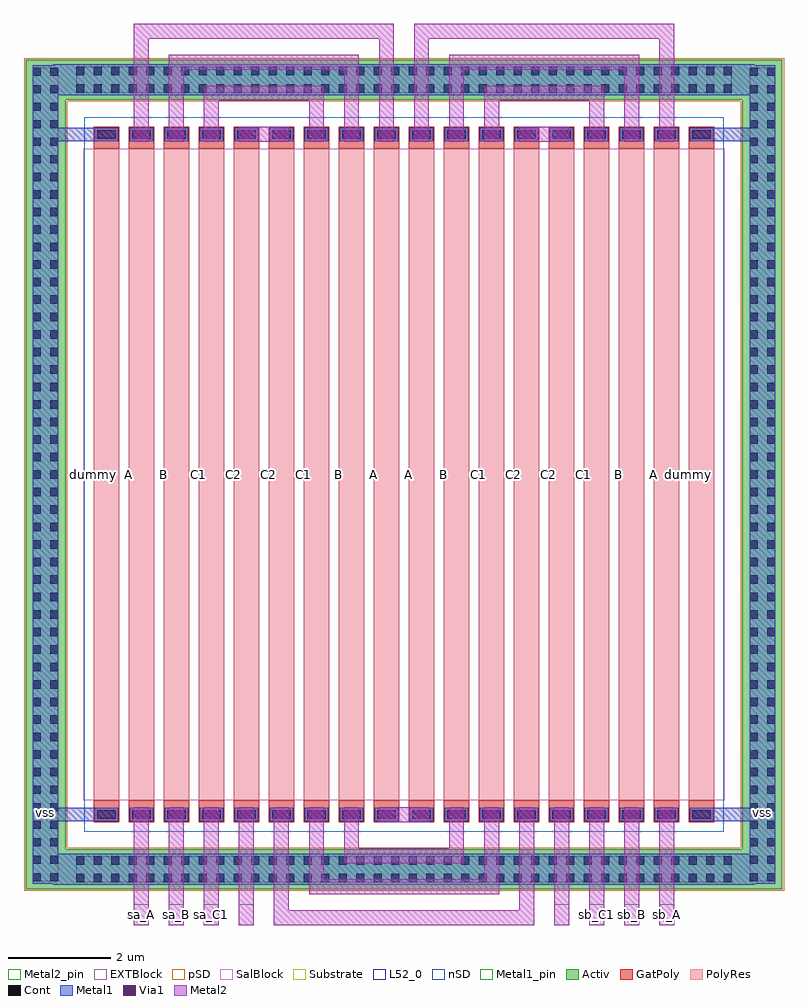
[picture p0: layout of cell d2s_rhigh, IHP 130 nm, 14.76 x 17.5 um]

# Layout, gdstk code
import gdstk
lib = gdstk.Library(unit=1e-6, precision=1e-09)
def R(c, l, rs):  # rectangles x0, y0, x1, y1
    for r in rs: c.add(gdstk.rectangle(r[:2], r[2:], *l))
def A(c, l, x, y, w, h, nx, ny, dx, dy):  # array of equal rectangles
    R(c, l, [(x+i*dx, y+j*dy, x+i*dx+w, y+j*dy+h) for i in range(nx) for j in range(ny)])
Activ = (1, 0)
GatPoly = (5, 0)
Cont = (6, 0)
nSD = (7, 0)
Metal1 = (8, 0)
Metal1_pin = (8, 2)
Metal2 = (10, 0)
Metal2_pin = (10, 2)
pSD = (14, 0)
Via1 = (19, 0)
SalBlock = (28, 0)
Substrate = (40, 0)
L52_0 = (52, 0)
EXTBlock = (111, 0)
PolyRes = (128, 0)

ptap1 = lib.new_cell('ptap1')
R(ptap1, Activ, [(0,0,0.78,16.11)])
A(ptap1, Cont, 0.14, 0.155, 0.16, 0.16, 1, 47, 0, 0.34)
A(ptap1, Cont, 0.48, 0.155, 0.16, 0.16, 1, 47, 0, 0.34)
R(ptap1, Metal1, [(0.14,0.105,0.64,16.005), (0.14,0.155,0.64,15.955)])
R(ptap1, Metal1_pin, [(0.14,0.155,0.64,15.955)])
R(ptap1, pSD, [(-0.03,-0.03,0.81,16.14)])
R(ptap1, Substrate, [(0,0,0.78,16.11)])
ptap1.add(gdstk.Label('sub!', (0.39,0.01), layer=63, texttype=0))
ptap1.add(gdstk.Label('sub!', (0.39,0.01), layer=40, texttype=0))

rhigh = lib.new_cell('rhigh')
R(rhigh, GatPoly, [(0,-0.43,0.5,0), (0,12.65,0.5,13.08)])
R(rhigh, Cont, [(0.07,-0.36,0.43,-0.2), (0.07,12.85,0.43,13.01)])
R(rhigh, nSD, [(-0.18,-0.61,0.68,0.18), (-0.18,0,0.68,12.65), (-0.18,0,0.68,12.65), (-0.18,12.47,0.68,13.26)])
R(rhigh, Metal1, [(0.02,-0.41,0.48,-0.15), (0.02,12.8,0.48,13.06)])
R(rhigh, Metal1_pin, [(0.02,-0.41,0.48,-0.15), (0.02,12.8,0.48,13.06)])
R(rhigh, pSD, [(-0.18,-0.61,0.68,0.18), (-0.18,0,0.68,12.65), (-0.18,0,0.68,12.65), (-0.18,12.47,0.68,13.26)])
R(rhigh, SalBlock, [(-0.2,0,0.7,12.65)])
R(rhigh, L52_0, [(0,0,0.5,12.65)])
R(rhigh, EXTBlock, [(-0.18,-0.61,0.68,0.18), (-0.2,0,0.7,12.65), (-0.18,12.47,0.68,13.26)])
R(rhigh, PolyRes, [(0,0,0.5,12.65)])
rhigh.add(gdstk.Label('rhigh r=37720.000', (0.25,6.325), layer=63, texttype=0))
rhigh.add(gdstk.Label('rhigh', (0.25,6.325), layer=52, texttype=0))

ptap1_2 = lib.new_cell('ptap1$2')
R(ptap1_2, Activ, [(0,0,13.14,0.78)])
A(ptap1_2, Cont, 0.2, 0.14, 0.16, 0.16, 38, 2, 0.34, 0.34)
R(ptap1_2, Metal1, [(0.2,0.09,12.94,0.69), (0.2,0.14,12.94,0.64)])
R(ptap1_2, Metal1_pin, [(0.2,0.14,12.94,0.64)])
R(ptap1_2, pSD, [(-0.03,-0.03,13.17,0.81)])
R(ptap1_2, Substrate, [(0,0,13.14,0.78)])
ptap1_2.add(gdstk.Label('sub!', (6.57,0.01), layer=63, texttype=0))
ptap1_2.add(gdstk.Label('sub!', (6.57,0.01), layer=40, texttype=0))

d2s_rhigh = lib.new_cell('d2s_rhigh')
R(d2s_rhigh, Metal1, [(-0.78,-1.64,-0.24,-1.04), (12.3,-1.64,12.84,-1.04), (-0.78,-0.41,0.33,-0.15), (11.73,-0.41,12.84,-0.15), (-0.78,12.8,0.33,13.06), (11.73,12.8,12.84,13.06), (-0.78,13.69,-0.24,14.29), (12.3,13.69,12.84,14.29)])
R(d2s_rhigh, Metal1_pin, [(-1.18,-0.435,-0.68,-0.035), (12.74,-0.435,13.24,-0.035)])
A(d2s_rhigh, Metal2_pin, 0.785, -2.425, 0.29, 0.4, 4, 1, 0.68, 0)
A(d2s_rhigh, Metal2_pin, 8.945, -2.425, 0.29, 0.4, 4, 1, 0.68, 0)
A(d2s_rhigh, Via1, 0.835, -0.375, 0.19, 0.19, 16, 2, 0.68, 13.21)
d2s_rhigh.add(gdstk.FlexPath([(0.93,-0.28),(0.93,-2.28)], 0.29, ends="extended", simple_path=True, layer=10, datatype=0))  # Metal2
d2s_rhigh.add(gdstk.FlexPath([(11.13,-0.28),(11.13,-2.28)], 0.29, ends="extended", simple_path=True, layer=10, datatype=0))  # Metal2
d2s_rhigh.add(gdstk.FlexPath([(1.61,-0.28),(1.61,-2.28)], 0.29, ends="extended", simple_path=True, layer=10, datatype=0))  # Metal2
d2s_rhigh.add(gdstk.FlexPath([(10.45,-0.28),(10.45,-2.28)], 0.29, ends="extended", simple_path=True, layer=10, datatype=0))  # Metal2
d2s_rhigh.add(gdstk.FlexPath([(2.29,-0.28),(2.29,-2.28)], 0.29, ends="extended", simple_path=True, layer=10, datatype=0))  # Metal2
d2s_rhigh.add(gdstk.FlexPath([(9.77,-0.28),(9.77,-2.28)], 0.29, ends="extended", simple_path=True, layer=10, datatype=0))  # Metal2
d2s_rhigh.add(gdstk.FlexPath([(2.97,-0.28),(2.97,-2.28)], 0.29, ends="extended", simple_path=True, layer=10, datatype=0))  # Metal2
d2s_rhigh.add(gdstk.FlexPath([(9.09,-0.28),(9.09,-2.28)], 0.29, ends="extended", simple_path=True, layer=10, datatype=0))  # Metal2
d2s_rhigh.add(gdstk.FlexPath([(0.93,12.93),(0.93,14.93),(5.69,14.93),(5.69,12.93)], 0.29, ends="extended", simple_path=True, layer=10, datatype=0))  # Metal2
d2s_rhigh.add(gdstk.FlexPath([(6.37,12.93),(6.37,14.93),(11.13,14.93),(11.13,12.93)], 0.29, ends="extended", simple_path=True, layer=10, datatype=0))  # Metal2
d2s_rhigh.add(gdstk.FlexPath([(5.69,-0.28),(6.37,-0.28)], 0.29, ends="extended", simple_path=True, layer=10, datatype=0))  # Metal2
d2s_rhigh.add(gdstk.FlexPath([(1.61,12.93),(1.61,14.33),(5.01,14.33),(5.01,12.93)], 0.29, ends="extended", simple_path=True, layer=10, datatype=0))  # Metal2
d2s_rhigh.add(gdstk.FlexPath([(7.05,12.93),(7.05,14.33),(10.45,14.33),(10.45,12.93)], 0.29, ends="extended", simple_path=True, layer=10, datatype=0))  # Metal2
d2s_rhigh.add(gdstk.FlexPath([(5.01,-0.28),(5.01,-1.08),(7.05,-1.08),(7.05,-0.28)], 0.29, ends="extended", simple_path=True, layer=10, datatype=0))  # Metal2
d2s_rhigh.add(gdstk.FlexPath([(2.29,12.93),(2.29,13.73),(4.33,13.73),(4.33,12.93)], 0.29, ends="extended", simple_path=True, layer=10, datatype=0))  # Metal2
d2s_rhigh.add(gdstk.FlexPath([(7.73,12.93),(7.73,13.73),(9.77,13.73),(9.77,12.93)], 0.29, ends="extended", simple_path=True, layer=10, datatype=0))  # Metal2
d2s_rhigh.add(gdstk.FlexPath([(4.33,-0.28),(4.33,-1.68),(7.73,-1.68),(7.73,-0.28)], 0.29, ends="extended", simple_path=True, layer=10, datatype=0))  # Metal2
d2s_rhigh.add(gdstk.FlexPath([(2.97,12.93),(3.65,12.93)], 0.29, ends="extended", simple_path=True, layer=10, datatype=0))  # Metal2
d2s_rhigh.add(gdstk.FlexPath([(8.41,12.93),(9.09,12.93)], 0.29, ends="extended", simple_path=True, layer=10, datatype=0))  # Metal2
d2s_rhigh.add(gdstk.FlexPath([(3.65,-0.28),(3.65,-2.28),(8.41,-2.28),(8.41,-0.28)], 0.29, ends="extended", simple_path=True, layer=10, datatype=0))  # Metal2
d2s_rhigh.add(gdstk.Reference(ptap1, (-1.32,-1.73)))
d2s_rhigh.add(gdstk.Reference(rhigh, (6.12,0)))
d2s_rhigh.add(gdstk.Reference(rhigh, (11.56,0)))
d2s_rhigh.add(gdstk.Reference(rhigh, (10.88,0)))
d2s_rhigh.add(gdstk.Reference(rhigh, (10.2,0)))
d2s_rhigh.add(gdstk.Reference(rhigh, (9.52,0)))
d2s_rhigh.add(gdstk.Reference(rhigh, (8.84,0)))
d2s_rhigh.add(gdstk.Reference(rhigh, (8.16,0)))
d2s_rhigh.add(gdstk.Reference(rhigh, (7.48,0)))
d2s_rhigh.add(gdstk.Reference(rhigh, (6.8,0)))
d2s_rhigh.add(gdstk.Reference(rhigh, (0,0)))
d2s_rhigh.add(gdstk.Reference(rhigh, (5.44,0)))
d2s_rhigh.add(gdstk.Reference(rhigh, (4.76,0)))
d2s_rhigh.add(gdstk.Reference(rhigh, (4.08,0)))
d2s_rhigh.add(gdstk.Reference(rhigh, (3.4,0)))
d2s_rhigh.add(gdstk.Reference(rhigh, (2.72,0)))
d2s_rhigh.add(gdstk.Reference(rhigh, (2.04,0)))
d2s_rhigh.add(gdstk.Reference(rhigh, (1.36,0)))
d2s_rhigh.add(gdstk.Reference(rhigh, (0.68,0)))
d2s_rhigh.add(gdstk.Reference(ptap1, (12.6,-1.73)))
d2s_rhigh.add(gdstk.Reference(ptap1_2, (-0.54,13.6)))
d2s_rhigh.add(gdstk.Reference(ptap1_2, (-0.54,-1.73)))
d2s_rhigh.add(gdstk.Label('dummy', (0,6.325), layer=63, texttype=0))
d2s_rhigh.add(gdstk.Label('A', (0.68,6.325), layer=63, texttype=0))
d2s_rhigh.add(gdstk.Label('B', (1.36,6.325), layer=63, texttype=0))
d2s_rhigh.add(gdstk.Label('C1', (2.04,6.325), layer=63, texttype=0))
d2s_rhigh.add(gdstk.Label('C2', (2.72,6.325), layer=63, texttype=0))
d2s_rhigh.add(gdstk.Label('C2', (3.4,6.325), layer=63, texttype=0))
d2s_rhigh.add(gdstk.Label('C1', (4.08,6.325), layer=63, texttype=0))
d2s_rhigh.add(gdstk.Label('B', (4.76,6.325), layer=63, texttype=0))
d2s_rhigh.add(gdstk.Label('A', (5.44,6.325), layer=63, texttype=0))
d2s_rhigh.add(gdstk.Label('A', (6.12,6.325), layer=63, texttype=0))
d2s_rhigh.add(gdstk.Label('B', (6.8,6.325), layer=63, texttype=0))
d2s_rhigh.add(gdstk.Label('C1', (7.48,6.325), layer=63, texttype=0))
d2s_rhigh.add(gdstk.Label('C2', (8.16,6.325), layer=63, texttype=0))
d2s_rhigh.add(gdstk.Label('C2', (8.84,6.325), layer=63, texttype=0))
d2s_rhigh.add(gdstk.Label('C1', (9.52,6.325), layer=63, texttype=0))
d2s_rhigh.add(gdstk.Label('B', (10.2,6.325), layer=63, texttype=0))
d2s_rhigh.add(gdstk.Label('A', (10.88,6.325), layer=63, texttype=0))
d2s_rhigh.add(gdstk.Label('dummy', (11.56,6.325), layer=63, texttype=0))
d2s_rhigh.add(gdstk.Label('vss', (12.99,-0.235), layer=8, texttype=25))
d2s_rhigh.add(gdstk.Label('vss', (-0.93,-0.235), layer=8, texttype=25))
d2s_rhigh.add(gdstk.Label('sa_A', (0.93,-2.225), layer=10, texttype=25))
d2s_rhigh.add(gdstk.Label('sb_A', (11.13,-2.225), layer=10, texttype=25))
d2s_rhigh.add(gdstk.Label('sa_B', (1.61,-2.225), layer=10, texttype=25))
d2s_rhigh.add(gdstk.Label('sb_B', (10.45,-2.225), layer=10, texttype=25))
d2s_rhigh.add(gdstk.Label('sa_C1', (2.29,-2.225), layer=10, texttype=25))
d2s_rhigh.add(gdstk.Label('sb_C1', (9.77,-2.225), layer=10, texttype=25))
d2s_rhigh.add(gdstk.Label('sa_C2', (2.97,-2.225), layer=10, texttype=25))
d2s_rhigh.add(gdstk.Label('sb_C2', (9.09,-2.225), layer=10, texttype=25))

lib.write_gds('d2s_rhigh.gds')
